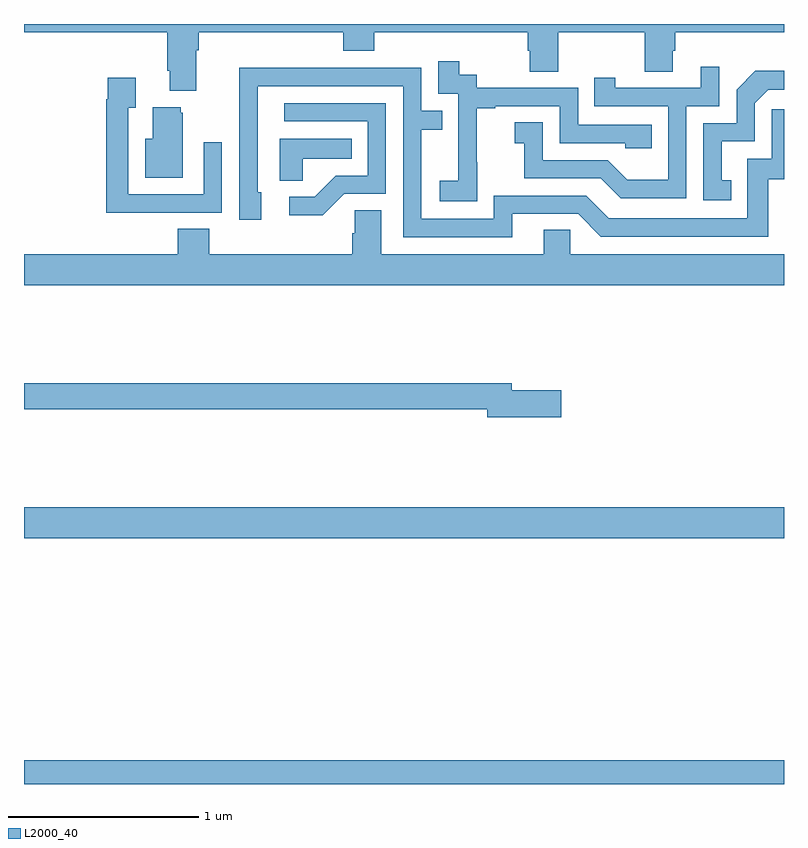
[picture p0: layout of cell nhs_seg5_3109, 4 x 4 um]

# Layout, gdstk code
import gdstk
lib = gdstk.Library(unit=1e-6, precision=1e-09)
def R(c, l, rs):  # rectangles x0, y0, x1, y1
    for r in rs: c.add(gdstk.rectangle(r[:2], r[2:], *l))
def P(c, l, *ps):  # polygons
    for p in ps: c.add(gdstk.Polygon(p, *l))
L2000_40 = (2000, 40)

nhs_seg5_3109 = lib.new_cell('nhs_seg5_3109')
R(nhs_seg5_3109, L2000_40, [(291,856.799,295,856.924), (291,858.092,295,858.256)])
P(nhs_seg5_3109, L2000_40, [(291.907,860.66),(291.92,860.66),(291.92,860.756),(292.679,860.756),(292.679,860.657),(292.844,860.657),(292.844,860.756),(293.651,860.756),(293.651,860.658),(293.663,860.658),(293.663,860.548),(293.811,860.548),(293.811,860.756),(294.268,860.756),(294.268,860.548),(294.415,860.548),(294.415,860.658),(294.428,860.658),(294.428,860.756),(295,860.756),(295,860.799),(291,860.799),(291,860.756),(291.755,860.756),(291.755,860.554),(291.767,860.554),(291.767,860.447),(291.907,860.447)],
  [(293.385,860.071),(293.384,860.071),(293.384,860.355),(293.479,860.355),(293.479,860.367),(293.82,860.367),(293.82,860.172),(294.165,860.172),(294.165,860.145),(294.305,860.145),(294.305,860.268),(293.916,860.268),(293.916,860.463),(293.382,860.463),(293.382,860.532),(293.29,860.532),(293.29,860.602),(293.181,860.602),(293.181,860.433),(293.286,860.433),(293.286,860.204),(293.285,860.204),(293.285,859.975),(293.187,859.975),(293.187,859.865),(293.385,859.865)],
  [(294.486,860.367),(294.66,860.367),(294.66,860.575),(294.563,860.575),(294.563,860.463),(294.112,860.463),(294.112,860.515),(294.001,860.515),(294.001,860.367),(294.39,860.367),(294.39,859.978),(294.176,859.978),(294.072,860.082),(293.73,860.082),(293.73,860.281),(293.583,860.281),(293.583,860.171),(293.632,860.171),(293.632,859.986),(294.035,859.986),(294.14,859.881),(294.486,859.881)],
  [(293.569,859.8),(293.916,859.8),(294.036,859.68),(294.916,859.68),(294.916,859.983),(295,859.983),(295,860.35),(294.936,860.35),(294.936,860.091),(294.807,860.091),(294.807,859.776),(294.078,859.776),(293.958,859.896),(293.472,859.896),(293.472,859.773),(293.091,859.773),(293.091,860.242),(293.201,860.242),(293.201,860.343),(293.091,860.343),(293.091,860.568),(292.595,860.568),(292.595,860.57),(292.132,860.57),(292.132,860.263),(292.134,860.263),(292.134,859.77),(292.249,859.77),(292.249,859.914),(292.23,859.914),(292.23,860.472),(292.995,860.472),(292.995,859.677),(293.569,859.677)],
  [(294.722,859.977),(294.673,859.977),(294.673,860.181),(294.846,860.181),(294.846,860.382),(294.918,860.454),(295,860.454),(295,860.552),(294.848,860.552),(294.75,860.454),(294.75,860.277),(294.576,860.277),(294.576,859.872),(294.722,859.872)],
  [(291.725,859.806),(292.041,859.806),(292.041,860.176),(291.945,860.176),(291.945,859.902),(291.549,859.902),(291.549,860.359),(291.589,860.359),(291.589,860.515),(291.441,860.515),(291.441,860.402),(291.433,860.402),(291.433,859.805),(291.725,859.805)],
  [(292.686,859.905),(292.905,859.905),(292.905,860.382),(292.371,860.382),(292.371,860.286),(292.809,860.286),(292.809,860.001),(292.64,860.001),(292.529,859.89),(292.395,859.89),(292.395,859.793),(292.573,859.793)],
  [(291.835,860.331),(291.824,860.331),(291.824,860.362),(291.677,860.362),(291.677,860.194),(291.638,860.194),(291.638,859.991),(291.835,859.991)],
  [(292.467,860.09),(292.724,860.09),(292.724,860.194),(292.346,860.194),(292.346,859.975),(292.467,859.975)],
  [(295,859.588),(293.874,859.588),(293.874,859.715),(293.735,859.715),(293.735,859.588),(292.879,859.588),(292.879,859.82),(292.74,859.82),(292.74,859.697),(292.727,859.697),(292.727,859.588),(291.974,859.588),(291.974,859.721),(291.809,859.721),(291.809,859.588),(291,859.588),(291,859.424),(295,859.424)],
  [(293.827,858.872),(293.566,858.872),(293.566,858.908),(291,858.908),(291,858.772),(293.438,858.772),(293.438,858.73),(293.827,858.73)])

lib.write_gds('nhs_seg5_3109.gds')
